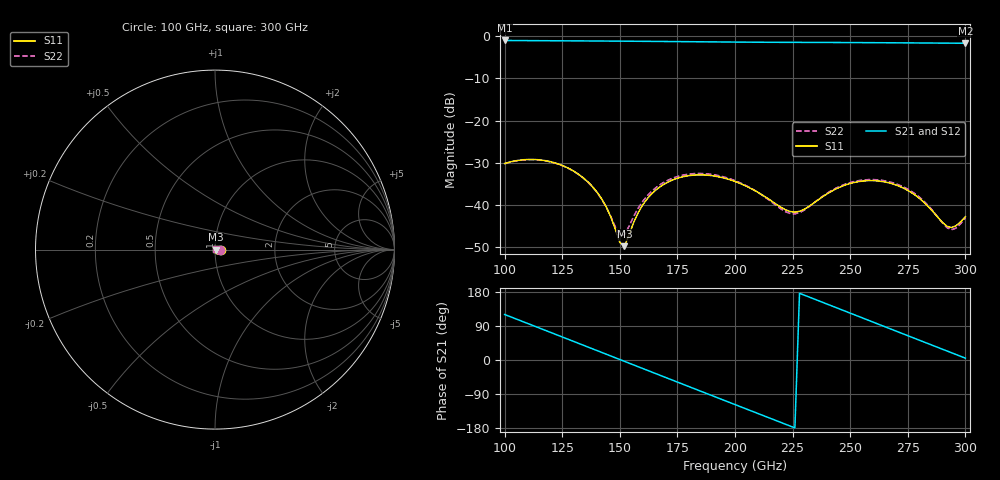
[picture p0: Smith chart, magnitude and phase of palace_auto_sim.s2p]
#  GHZ S DB R 50
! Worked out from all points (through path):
!   101 points, 100 GHz to 300 GHz, reference 50 ohm
!   highest |S21| = -1.06 dB at 100 GHz (marker M1); lowest = -1.7 dB at 300 GHz (marker M2)
!   group delay of S21, straight-line fit = 6.6 ps
!   lowest |S11| = -49.7 dB at 152 GHz (marker M3), VSWR 1.01, Z = 50.3 - j0.12 ohm
!   |S11| at or under -10 dB: start of sweep to end of sweep
!   |S22| runs from -47.2 to -29.3 dB; largest |S21 - S12| = 1.4e-13
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100  -30.17 -7.9  -1.06 120.1  -1.06 120.1  -30.23 -7.5
108  -29.29 -23.5  -1.10 101.2  -1.10 101.2  -29.33 -23.1
116  -29.36 -39.7  -1.12 82.2  -1.12 82.2  -29.40 -39.3
124  -30.41 -56.2  -1.14 63.2  -1.14 63.2  -30.46 -55.6
134  -33.49 -75.7  -1.17 39.4  -1.17 39.4  -33.56 -74.2
142  -38.41 -86.7  -1.20 20.3  -1.20 20.3  -38.49 -82.8
146  -42.68 -85.2  -1.21 10.8  -1.21 10.8  -42.58 -77.8
150  -48.86 -57.6  -1.23 1.3  -1.23 1.3  -47.19 -46.2
152  -49.72 -21.4  -1.24 -3.5  -1.24 -3.5  -47.09 -18.4
160  -39.92 20.4  -1.27 -22.5  -1.27 -22.5  -39.08 14.7
168  -35.48 11.2  -1.30 -41.6  -1.30 -41.6  -34.98 6.4
184  -32.86 -16.4  -1.37 -79.7  -1.37 -79.7  -32.52 -20.9
200  -34.42 -39.3  -1.44 -117.6  -1.44 -117.6  -34.22 -44.7
212  -37.66 -46.0  -1.49 -146.0  -1.49 -146.0  -37.74 -52.0
224  -41.54 -25.9  -1.51 -174.4  -1.51 -174.4  -42.00 -29.0
234  -39.59 2.6  -1.53 161.8  -1.53 161.8  -39.59 1.5
252  -34.62 -7.6  -1.57 118.9  -1.57 118.9  -34.39 -10.5
268  -34.92 -34.0  -1.61 80.8  -1.61 80.8  -34.64 -38.0
280  -38.40 -49.2  -1.66 52.3  -1.66 52.3  -38.11 -54.6
292  -45.01 -26.6  -1.70 23.8  -1.70 23.8  -45.34 -33.9
296  -44.88 -1.9  -1.71 14.3  -1.71 14.3  -45.43 -6.0
300  -42.73 13.7  -1.72 4.9  -1.72 4.9  -43.03 11.7
